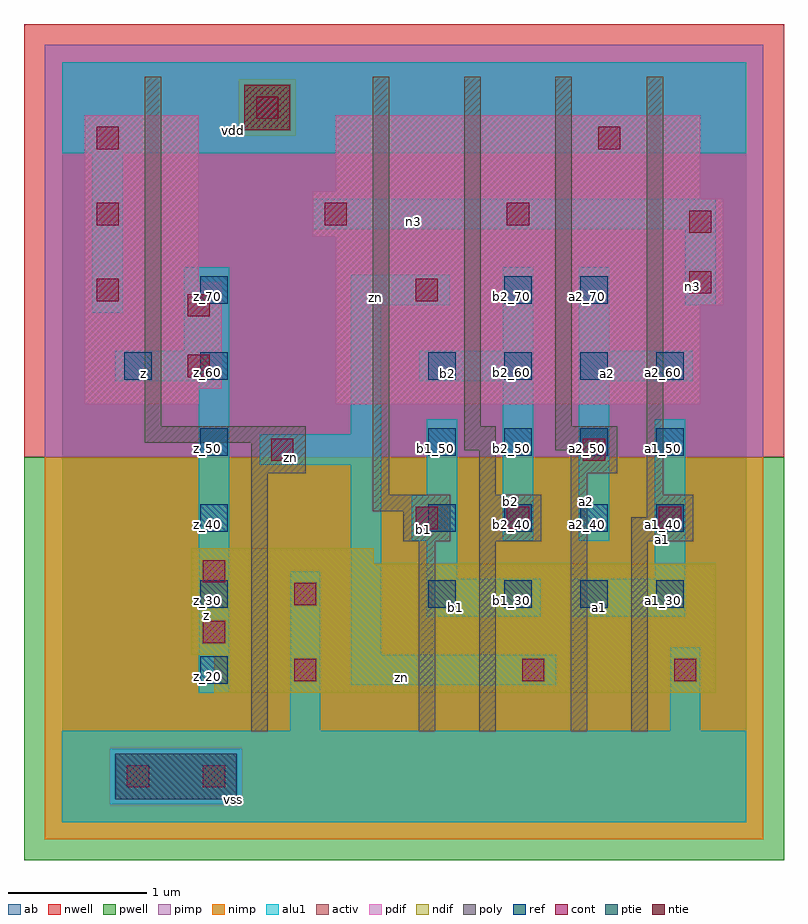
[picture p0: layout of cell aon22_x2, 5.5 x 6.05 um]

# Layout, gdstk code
import gdstk
lib = gdstk.Library(unit=1e-6, precision=2.5e-09)
def R(c, l, rs):  # rectangles x0, y0, x1, y1
    for r in rs: c.add(gdstk.rectangle(r[:2], r[2:], *l))
def A(c, l, x, y, w, h, nx, ny, dx, dy):  # array of equal rectangles
    R(c, l, [(x+i*dx, y+j*dy, x+i*dx+w, y+j*dy+h) for i in range(nx) for j in range(ny)])
ndif = (3, 0)
pdif = (4, 0)
ntie = (5, 0)
ptie = (6, 0)
ref = (24, 0)
cont = (25, 0)
pwell = (41, 0)
nwell = (42, 0)
activ = (43, 0)
pimp = (44, 0)
nimp = (45, 0)
poly = (46, 0)
alu1 = (49, 0)
ab = (63, 0)

aon22_x2 = lib.new_cell('aon22_x2')
R(aon22_x2, ndif, [(1.1,0.935,4.73,1.21), (0.935,1.21,4.73,1.87), (0.935,1.87,2.255,1.98)])
R(aon22_x2, pdif, [(0.165,3.025,0.99,3.135), (1.98,3.025,4.62,3.74), (0.165,3.135,1.155,3.905), (1.98,3.74,4.785,4.235), (0.165,3.905,0.99,5.115), (1.815,4.235,4.785,4.51), (1.815,4.51,4.62,4.565), (1.98,4.565,4.62,5.115)])
R(aon22_x2, ntie, [(1.32,5.005,1.65,5.335)])
R(aon22_x2, ptie, [(0.385,0.165,1.265,0.495)])
A(aon22_x2, ref, 1, 1, 0.2, 0.2, 1, 6, 0, 0.55)
A(aon22_x2, ref, 2.65, 1.55, 0.2, 0.2, 4, 4, 0.55, 0.55)
R(aon22_x2, ref, [(0.45,3.2,0.65,3.4), (3.2,3.75,3.4,3.95), (3.75,3.75,3.95,3.95)])
A(aon22_x2, cont, 0.25, 3.77, 0.16, 0.16, 1, 3, 0, 0.55)
R(aon22_x2, cont, [(0.47,0.25,0.63,0.41), (1.02,0.25,1.18,0.41), (1.68,1.02,1.84,1.18), (3.33,1.02,3.49,1.18), (4.43,1.02,4.59,1.18), (1.02,1.295,1.18,1.455), (1.68,1.57,1.84,1.73), (1.02,1.735,1.18,1.895), (2.56,2.12,2.72,2.28), (3.22,2.12,3.38,2.28), (4.32,2.12,4.48,2.28), (1.515,2.615,1.675,2.775), (3.77,2.615,3.93,2.775), (0.91,3.22,1.07,3.38), (0.91,3.66,1.07,3.82), (2.56,3.77,2.72,3.93), (4.54,3.825,4.7,3.985), (4.54,4.265,4.7,4.425), (1.9,4.32,2.06,4.48), (3.22,4.32,3.38,4.48), (3.88,4.87,4.04,5.03), (1.405,5.09,1.565,5.25)])
R(aon22_x2, pwell, [(-0.275,-0.275,5.225,2.64)])
R(aon22_x2, nwell, [(-0.275,2.64,5.225,5.775)])
R(aon22_x2, activ, [(0.385,0.165,1.265,0.495), (1.1,0.935,4.73,1.21), (0.935,1.21,4.73,1.87), (0.935,1.87,2.255,1.98), (0.165,3.025,0.99,3.135), (1.98,3.025,4.62,3.74), (0.165,3.135,1.155,3.905), (1.98,3.74,4.785,4.235), (0.165,3.905,0.99,5.115), (1.815,4.235,4.785,4.51), (1.815,4.51,4.62,4.565), (1.98,4.565,4.62,5.115), (1.32,5.005,1.65,5.335)])
R(aon22_x2, pimp, [(0.345,0.125,1.305,0.535), (-0.125,2.64,5.075,4.965), (-0.125,4.965,1.28,5.375), (1.69,4.965,5.075,5.375), (-0.125,5.375,5.075,5.625)])
R(aon22_x2, nimp, [(-0.125,-0.125,5.075,0.125), (-0.125,0.125,0.345,0.535), (1.305,0.125,5.075,0.535), (-0.125,0.535,5.075,2.64), (1.28,4.965,1.69,5.375)])
R(aon22_x2, poly, [(1.37,0.655,1.49,2.525), (2.58,0.655,2.7,2.03), (3.02,0.655,3.14,2.03), (3.68,0.655,3.8,2.525), (4.12,0.655,4.24,2.03), (2.47,2.03,2.81,2.25), (3.02,2.03,3.47,2.37), (4.12,2.03,4.57,2.205), (4.23,2.205,4.57,2.37), (2.25,2.25,2.81,2.37), (2.25,2.37,2.37,5.395), (3.02,2.37,3.14,2.69), (4.23,2.37,4.35,5.395), (1.37,2.525,1.765,2.745), (3.68,2.525,4.02,2.69), (2.91,2.69,3.14,2.865), (3.57,2.69,4.02,2.865), (0.6,2.745,1.765,2.865), (0.6,2.865,0.72,5.395), (2.91,2.865,3.03,5.395), (3.57,2.865,3.69,5.395)])
R(aon22_x2, alu1, [(0,0,4.95,0.66), (1.65,0.66,1.87,1.815), (4.4,0.66,4.62,1.265), (0.99,0.935,1.21,3.19), (2.09,0.99,3.575,1.21), (2.09,1.21,2.31,2.585), (2.64,1.485,3.465,1.76), (3.685,1.485,4.51,1.76), (2.64,1.76,2.86,2.035), (4.29,1.76,4.51,2.915), (2.53,2.035,2.86,2.365), (3.19,2.035,3.41,3.19), (3.74,2.035,3.96,3.19), (2.64,2.365,2.86,2.915), (1.43,2.585,2.31,2.805), (2.09,2.805,2.31,3.74), (0.385,3.19,1.21,3.41), (2.585,3.19,3.41,3.41), (3.74,3.19,4.565,3.41), (0.88,3.41,1.21,4.015), (3.19,3.41,3.41,4.015), (3.74,3.41,3.96,4.015), (0.22,3.685,0.44,4.84), (2.09,3.74,2.805,3.96), (4.51,3.74,4.73,4.29), (1.815,4.29,4.73,4.51), (0,4.84,4.95,5.5)])
R(aon22_x2, ab, [(0,0,4.95,5.5)])
aon22_x2.add(gdstk.Label('vss', (1.2375,0.165), layer=49, texttype=0))
aon22_x2.add(gdstk.Label('zn', (2.46,1.045), layer=49, texttype=0))
aon22_x2.add(gdstk.Label('a1', (3.89,1.5525), layer=49, texttype=0))
aon22_x2.add(gdstk.Label('b1', (2.845,1.5525), layer=49, texttype=0))
aon22_x2.add(gdstk.Label('a1', (4.345,2.0475), layer=49, texttype=0))
aon22_x2.add(gdstk.Label('a2', (3.795,2.3225), layer=49, texttype=0))
aon22_x2.add(gdstk.Label('a2', (3.945,3.245), layer=49, texttype=0))
aon22_x2.add(gdstk.Label('n3', (4.565,3.8775), layer=49, texttype=0))
aon22_x2.add(gdstk.Label('b2', (3.245,2.3225), layer=49, texttype=0))
aon22_x2.add(gdstk.Label('b1', (2.6125,2.1175), layer=49, texttype=0))
aon22_x2.add(gdstk.Label('zn', (1.65,2.64), layer=49, texttype=0))
aon22_x2.add(gdstk.Label('b2', (2.79,3.245), layer=49, texttype=0))
aon22_x2.add(gdstk.Label('zn', (2.2675,3.795), layer=49, texttype=0))
aon22_x2.add(gdstk.Label('z', (1.045,1.4975), layer=49, texttype=0))
aon22_x2.add(gdstk.Label('z', (0.59,3.245), layer=49, texttype=0))
aon22_x2.add(gdstk.Label('n3', (2.5425,4.345), layer=49, texttype=0))
aon22_x2.add(gdstk.Label('vdd', (1.2375,5.005), layer=49, texttype=0))
aon22_x2.add(gdstk.Label('a2_70', (3.8,3.8), layer=24, texttype=0))
aon22_x2.add(gdstk.Label('b2_70', (3.25,3.8), layer=24, texttype=0))
aon22_x2.add(gdstk.Label('b1_30', (2.7,1.6), layer=24, texttype=0))
aon22_x2.add(gdstk.Label('a2_40', (3.8,2.15), layer=24, texttype=0))
aon22_x2.add(gdstk.Label('a2_60', (4.35,3.25), layer=24, texttype=0))
aon22_x2.add(gdstk.Label('a1_30', (3.8,1.6), layer=24, texttype=0))
aon22_x2.add(gdstk.Label('a1_30', (4.35,1.6), layer=24, texttype=0))
aon22_x2.add(gdstk.Label('a1_50', (4.35,2.7), layer=24, texttype=0))
aon22_x2.add(gdstk.Label('a2_50', (3.8,2.7), layer=24, texttype=0))
aon22_x2.add(gdstk.Label('a2_60', (3.8,3.25), layer=24, texttype=0))
aon22_x2.add(gdstk.Label('b2_40', (3.25,2.15), layer=24, texttype=0))
aon22_x2.add(gdstk.Label('b2_50', (3.25,2.7), layer=24, texttype=0))
aon22_x2.add(gdstk.Label('b2_60', (2.7,3.25), layer=24, texttype=0))
aon22_x2.add(gdstk.Label('b1_30', (3.25,1.6), layer=24, texttype=0))
aon22_x2.add(gdstk.Label('b1_40', (2.7,2.15), layer=24, texttype=0))
aon22_x2.add(gdstk.Label('a1_40', (4.35,2.15), layer=24, texttype=0))
aon22_x2.add(gdstk.Label('b2_60', (3.25,3.25), layer=24, texttype=0))
aon22_x2.add(gdstk.Label('b1_50', (2.7,2.7), layer=24, texttype=0))
aon22_x2.add(gdstk.Label('z_20', (1.05,1.05), layer=24, texttype=0))
aon22_x2.add(gdstk.Label('z_30', (1.05,1.6), layer=24, texttype=0))
aon22_x2.add(gdstk.Label('z_40', (1.05,2.15), layer=24, texttype=0))
aon22_x2.add(gdstk.Label('z_50', (1.05,2.7), layer=24, texttype=0))
aon22_x2.add(gdstk.Label('z_60', (1.05,3.25), layer=24, texttype=0))
aon22_x2.add(gdstk.Label('z_70', (1.05,3.8), layer=24, texttype=0))
aon22_x2.add(gdstk.Label('z_60', (0.5,3.25), layer=24, texttype=0))

lib.write_gds('aon22_x2.gds')
